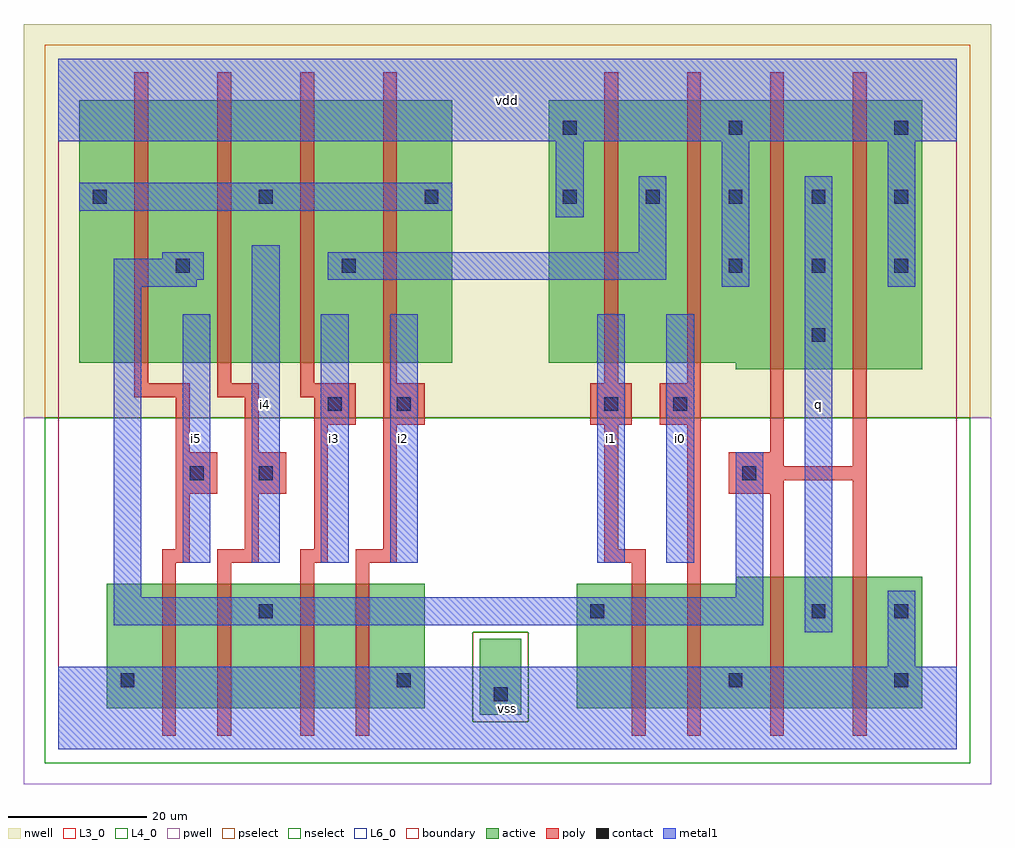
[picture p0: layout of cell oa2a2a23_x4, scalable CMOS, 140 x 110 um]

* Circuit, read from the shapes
.subckt oa2a2a23_x4 i0 i1 i2 i3 i4 i5 q vdd vss
M1 n1 i5 vss vss nfet w=18u l=2u
M2 n2 i4 n1 vss nfet w=18u l=2u
M3 n3 i3 n2 vss nfet w=18u l=2u
M4 vss i2 n3 vss nfet w=18u l=2u
M5 n4 i1 n2 vss nfet w=18u l=2u
M6 vss i0 n4 vss nfet w=18u l=2u
M7 q n2 vss vss nfet w=19u l=2u m=2
M8 n2 i5 n5 n6 pfet w=38u l=2u
M9 n5 i4 n2 n6 pfet w=38u l=2u
M10 n7 i3 n5 n6 pfet w=38u l=2u
M11 n5 i2 n7 n6 pfet w=38u l=2u
M12 n7 i1 vdd n6 pfet w=38u l=2u
M13 vdd i0 n7 n6 pfet w=38u l=2u
M14 q n2 vdd n6 pfet w=39u l=2u m=2
.ends

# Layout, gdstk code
import gdstk
lib = gdstk.Library(unit=1e-6, precision=1e-09)
def R(c, l, rs):  # rectangles x0, y0, x1, y1
    for r in rs: c.add(gdstk.rectangle(r[:2], r[2:], *l))
def A(c, l, x, y, w, h, nx, ny, dx, dy):  # array of equal rectangles
    R(c, l, [(x+i*dx, y+j*dy, x+i*dx+w, y+j*dy+h) for i in range(nx) for j in range(ny)])
L3_0 = (3, 0)
L4_0 = (4, 0)
L6_0 = (6, 0)
contact = (25, 0)
pwell = (41, 0)
nwell = (42, 0)
active = (43, 0)
pselect = (44, 0)
nselect = (45, 0)
poly = (46, 0)
metal1 = (49, 0)
boundary = (63, 0)

oa2a2a23_x4 = lib.new_cell('oa2a2a23_x4')
R(oa2a2a23_x4, L3_0, [(7,6,53,24), (75,6,125,24), (98,24,125,25)])
R(oa2a2a23_x4, L4_0, [(98,55,125,56), (3,56,57,94), (71,56,125,94)])
R(oa2a2a23_x4, L6_0, [(61,5,67,16)])
A(oa2a2a23_x4, contact, 97, 69, 2, 2, 3, 1, 12, 0)
A(oa2a2a23_x4, contact, 5, 79, 2, 2, 3, 1, 24, 0)
A(oa2a2a23_x4, contact, 73, 79, 2, 2, 5, 1, 12, 0)
A(oa2a2a23_x4, contact, 73, 89, 2, 2, 3, 1, 24, 0)
R(oa2a2a23_x4, contact, [(63,7,65,9), (9,9,11,11), (49,9,51,11), (97,9,99,11), (121,9,123,11), (29,19,31,21), (77,19,79,21), (109,19,111,21), (121,19,123,21), (19,39,21,41), (29,39,31,41), (99,39,101,41), (39,49,41,51), (49,49,51,51), (79,49,81,51), (89,49,91,51), (109,59,111,61), (17,69,19,71), (41,69,43,71)])
R(oa2a2a23_x4, pwell, [(-5,-5,135,48)])
R(oa2a2a23_x4, nwell, [(-5,48,135,105)])
R(oa2a2a23_x4, active, [(61,5,67,16), (7,6,53,24), (75,6,125,24), (98,24,125,25), (98,55,125,56), (3,56,57,94), (71,56,125,94)])
R(oa2a2a23_x4, pselect, [(60,4,68,17), (-2,48,132,102)])
R(oa2a2a23_x4, nselect, [(-2,-2,132,4), (-2,4,60,17), (68,4,132,17), (-2,17,132,48)])
A(oa2a2a23_x4, poly, 11, 53, 2, 45, 4, 1, 12, 0)
R(oa2a2a23_x4, poly, [(15,2,17,27), (23,2,25,27), (35,2,37,27), (43,2,45,27), (83,2,85,27), (91,2,93,47), (103,2,105,37), (115,2,117,39), (15,27,19,29), (23,27,29,29), (35,27,39,29), (43,27,49,29), (79,27,85,29), (17,29,19,37), (27,29,29,37), (37,29,39,47), (47,29,49,47), (79,29,81,47), (17,37,23,43), (27,37,33,43), (97,37,105,39), (97,39,117,41), (97,41,105,43), (115,41,117,98), (17,43,19,51), (27,43,29,51), (103,43,105,98), (37,47,43,51), (47,47,53,53), (77,47,83,53), (87,47,93,53), (11,51,19,53), (23,51,29,53), (35,51,43,53), (79,53,81,98), (91,53,93,98)])
R(oa2a2a23_x4, metal1, [(0,0,130,12), (120,12,124,23), (108,17,112,83), (8,18,102,22), (8,22,12,67), (98,22,102,43), (18,27,22,63), (28,27,32,73), (38,27,42,63), (48,27,52,63), (78,27,82,63), (88,27,92,63), (8,67,20,68), (96,67,100,88), (120,67,124,88), (8,68,21,71), (39,68,88,72), (15,71,21,72), (84,72,88,83), (72,77,76,88), (3,78,57,82), (0,88,130,100)])
R(oa2a2a23_x4, boundary, [(0,0,130,100)])
oa2a2a23_x4.add(gdstk.Label('i5', (20,45), layer=49, texttype=0))
oa2a2a23_x4.add(gdstk.Label('i3', (40,45), layer=49, texttype=0))
oa2a2a23_x4.add(gdstk.Label('i2', (50,45), layer=49, texttype=0))
oa2a2a23_x4.add(gdstk.Label('i4', (30,50), layer=49, texttype=0))
oa2a2a23_x4.add(gdstk.Label('vss', (65,6), layer=49, texttype=0))
oa2a2a23_x4.add(gdstk.Label('i0', (90,45), layer=49, texttype=0))
oa2a2a23_x4.add(gdstk.Label('i1', (80,45), layer=49, texttype=0))
oa2a2a23_x4.add(gdstk.Label('vdd', (65,94), layer=49, texttype=0))
oa2a2a23_x4.add(gdstk.Label('q', (110,50), layer=49, texttype=0))

lib.write_gds('oa2a2a23_x4.gds')
